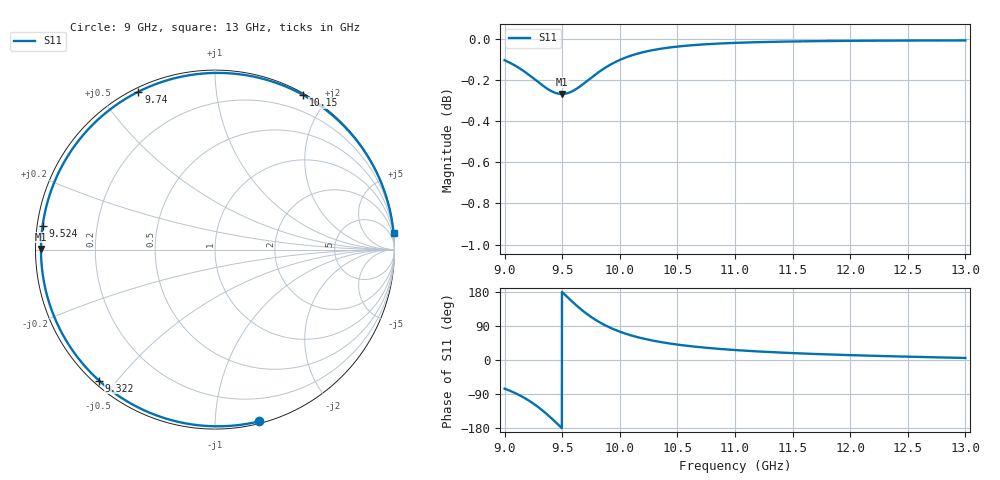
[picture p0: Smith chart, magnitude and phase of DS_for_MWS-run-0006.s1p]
! TOUCHSTONE file generated by CST DESIGN STUDIO
! Date and time: Tue Feb  4 12:34:26 2025
! Project name: C:\Work\MatlabApps\UnitCellOptimizationMatlab\CST\unitcell.cst
! Tree item: Tasks\Sweep1\SPara1\S-Parameters
! Header version: 2024
! Port assignment regex: !\s*Touchstone port\s*([0-9]+)\s*=\s*(CST MWS port|CST DES external port|CST DES block port)\s*(.+)\s* \(\"(.*)\"\)(\s*mode\s*([0-9]+))?.*
! Touchstone port assignment:
! Touchstone port 1 = CST DES external port 1 ("")
# GHz S MA R 50
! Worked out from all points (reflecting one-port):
!   4001 points, 9 GHz to 13 GHz, reference 50 ohm
!   lowest |S11| = -0.3 dB at 9.498 GHz (marker M1), VSWR 64.78, Z = 0.772 + j0.0976 ohm
!   phase of S11 starts at -76 deg and turns -279 deg over the sweep
!   S11 on the Smith chart (normalised r, x): 9 GHz: 0.02, -1.29; 9.322 GHz: 0.02, -0.45; 9.524 GHz: 0.02, +0.07; 9.74 GHz: 0.02, +0.63; 10.15 GHz: 0.02, +1.72; 13 GHz: 0, +21
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9  0.9881 -75.6
9.085  0.9854 -86.4
9.186  0.9812 -102.5
9.257  0.9778 -116.5
9.322  0.9746 -131.5
9.369  0.9725 -143.5
9.418  0.9708 -157.0
9.459  0.9699 -168.8
9.498  0.9696 179.8
9.5  0.9696 179.2
9.524  0.9697 172.1
9.577  0.9708 156.8
9.637  0.9729 140.4
9.688  0.9753 127.7
9.74  0.9779 115.9
9.793  0.9804 105.3
9.852  0.9831 94.9
9.925  0.9859 84.1
10  0.9883 74.8
10.154  0.9917 60.3
10.311  0.994 49.8
10.5  0.9957 40.7
10.722  0.9969 33.1
11  0.9977 26.3
11.5  0.9985 18.2
12  0.9989 12.8
12.5  0.999 8.8
13  0.9991 5.4
